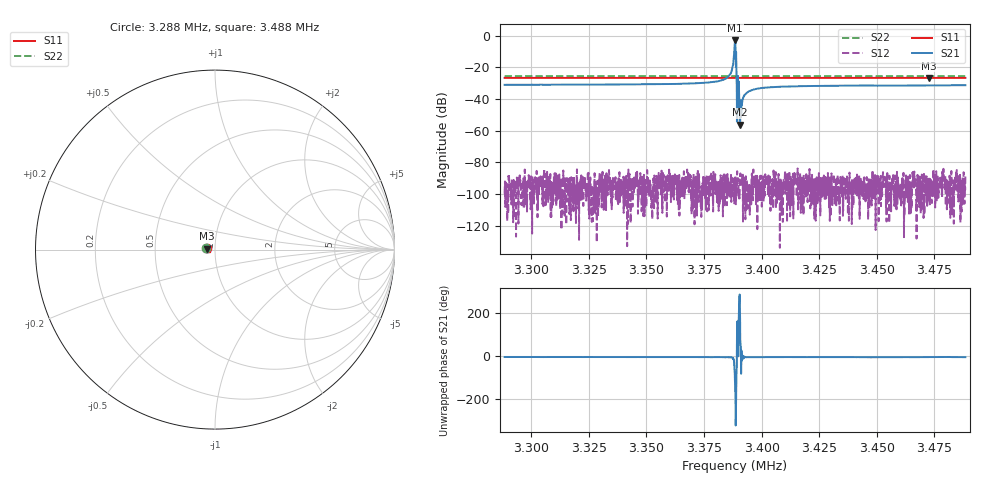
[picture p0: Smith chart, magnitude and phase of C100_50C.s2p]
# Hz S dB R 50.000
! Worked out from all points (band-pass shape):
!   6401 points, 3.288 MHz to 3.488 MHz, reference 50 ohm
!   highest |S21| = -3.05 dB at 3.388 MHz (marker M1); lowest = -56.2 dB at 3.391 MHz (marker M2)
!   |S21| within 3 dB of the highest: 3.388279 MHz to 3.388628 MHz (349.2 Hz wide, 0.0103 % of centre)
!   lowest |S11| = -26.7 dB at 3.473 MHz (marker M3), VSWR 1.10, Z = 45.6 + j0.559 ohm
!   |S11| at or under -10 dB: start of sweep to end of sweep
!   |S22| runs from -25.7 to -25.6 dB; largest |S21 - S12| = 0.7
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3288438  -26.71 170.7  -31.07 -4.1  -99.89 96.4  -25.58 168.9
3321782  -26.71 171.1  -30.96 -4.1  -96.58 -79.4  -25.59 169.2
3355126  -26.71 171.3  -30.67 -4.3  -92.19 81.4  -25.61 169.5
3382407  -26.71 171.6  -28.36 -4.5  -98.59 -51.9  -25.62 169.8
3385907  -26.71 171.6  -25.29 -4.8  -97.36 122.5  -25.62 169.8
3386813  -26.71 171.6  -23.02 -5.3  -102.37 -39.6  -25.62 169.8
3387344  -26.71 171.6  -19.82 -6.8  -90.00 101.4  -25.62 169.8
3387969  -26.71 171.6  -13.02 -17.5  -90.74 19.8  -25.62 169.8
3388188  -26.70 171.6  -8.35 -50.8  -106.06 61.5  -25.61 169.9
3388438  -26.71 171.6  -3.05 -112.5  -92.25 116.9  -25.59 169.8
3389219  -26.71 171.6  -35.03 -8.5  -90.42 40.5  -25.62 169.8
3389688  -26.70 171.7  -25.51 160.9  -90.87 34.1  -25.63 169.8
3390157  -26.71 171.6  -33.44 -125.9  -98.81 40.7  -25.62 169.8
3390657  -26.71 171.6  -56.23 172.9  -89.67 70.5  -25.63 169.8
3391313  -26.71 171.7  -43.12 10.6  -93.53 38.4  -25.63 169.8
3392219  -26.71 171.7  -38.48 -8.9  -93.72 74.2  -25.63 169.8
3393157  -26.70 171.7  -36.76 -3.9  -89.69 23.3  -25.62 169.9
3397250  -26.71 171.7  -33.80 -4.2  -93.12 80.1  -25.63 169.9
3421782  -26.71 172.0  -31.83 -4.5  -97.48 123.6  -25.64 170.1
3455126  -26.71 172.2  -31.54 -4.6  -97.86 165.2  -25.65 170.4
3472500  -26.72 172.4  -31.44 -4.6  -91.31 78.9  -25.67 170.6
3488438  -26.72 172.5  -31.34 -4.6  -88.20 -5.3  -25.68 170.7
